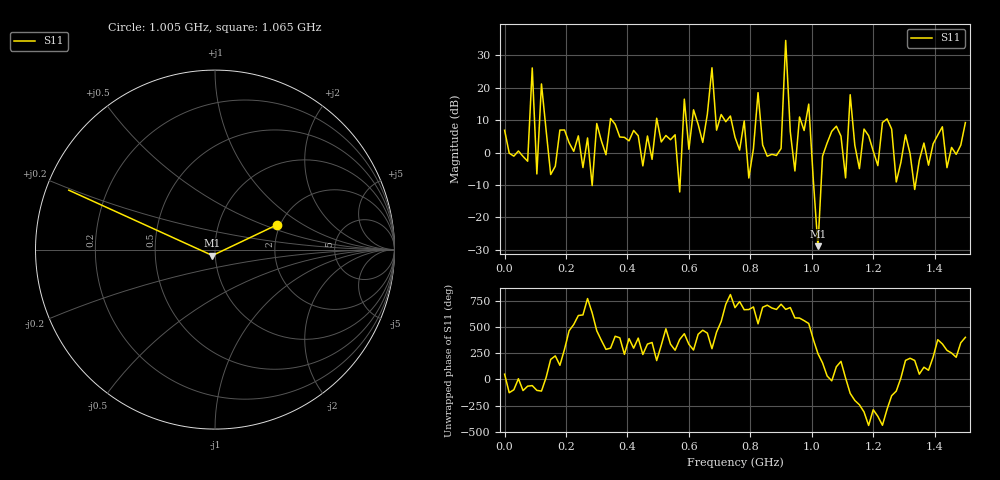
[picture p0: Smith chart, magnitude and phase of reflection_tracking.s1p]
! Created with skrf 1.8.0 (http://scikit-rf.org).
# Hz S RI R 50.0
!freq ReS11 ImS11
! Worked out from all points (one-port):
!   101 points, 50 kHz to 1.5 GHz, reference 50 ohm
!   lowest |S11| = -28.9 dB at 1.02 GHz (marker M1), VSWR 1.07, Z = 48.5 - j3.21 ohm
!   |S11| at or under -10 dB: 284.8632 MHz to 285.1766 MHz (313.4 kHz wide, 0.11 % of centre); 568.2 MHz to 571.2 MHz (2.954 MHz wide, 0.518 % of centre); 1.006 GHz to 1.03 GHz (24.12 MHz wide, 2.37 % of centre) (the widest 3 of 4)
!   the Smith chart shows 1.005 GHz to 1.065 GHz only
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50000  1.425 1.682
7.50475e7  0.3135 -0.6643
9.0047e7  10.28 -17.31
1.050465e8  -0.1218 -0.4518
1.20046e8  -4.241 -10.6
1.350455e8  2.123 0.6692
1.950435e8  0.6856 -2.12
3.750375e8  1.372 1.062
5.70031e8  0.2292 0.0919
5.850305e8  1.516 6.486
6.150295e8  0.8601 -4.479
6.60028e8  0.507 3.869
6.750275e8  8.077 -18.57
6.90027e8  -0.0807 2.213
7.50025e8  1.435 -0.9516
8.10023e8  1.017 -0.5215
8.250225e8  -8.289 1.254
8.40022e8  1.134 -0.6581
9.0002e8  1.153 -0.023
9.150195e8  34 -41.16
9.30019e8  1.752 -1.139
9.450185e8  -0.3494 -0.3858
1.020016e9  -0.0145 -0.033
1.080014e9  -1.321 2.18
1.125012e9  -5.369 -5.637
1.170011e9  1.511 1.736
1.320006e9  -0.8871 -0.3616
1.5e9  2.137 1.955
